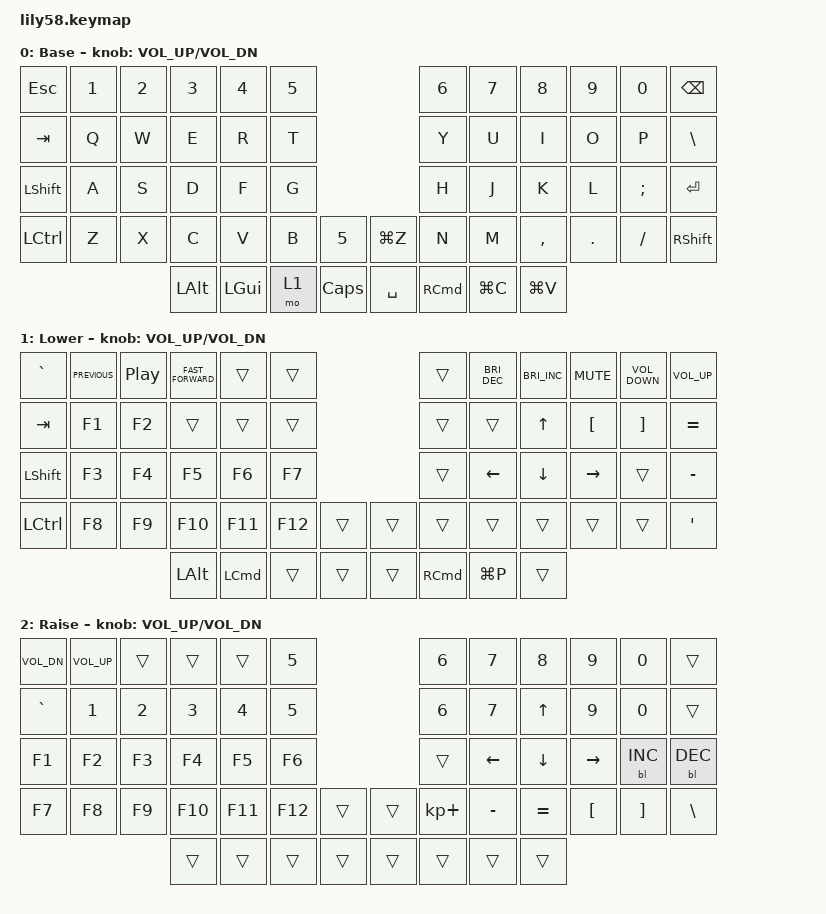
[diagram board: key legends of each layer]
/*
 * Copyright (c) 2020 The ZMK Contributors
 *
 * SPDX-License-Identifier: MIT
 */

#include <behaviors.dtsi>
#include <dt-bindings/zmk/backlight.h>
#include <dt-bindings/zmk/keys.h>

/ {
    keymap {
        compatible = "zmk,keymap";

        default_layer {
            // ------------------------------------------------------------------------------------------------------------
            // |  ESC  |  1  |  2  |  3   |  4   |  5   |                   |  6   |  7    |  8    |  9   |   0   |   `   |
            // |  TAB  |  Q  |  W  |  E   |  R   |  T   |                   |  Y   |  U    |  I    |  O   |   P   |   -   |
            // |  CTRL |  A  |  S  |  D   |  F   |  G   |                   |  H   |  J    |  K    |  L   |   ;   |   '   |
            // | SHIFT |  Z  |  X  |  C   |  V   |  B   |   "["  |  |  "]"  |  N   |  M    |  ,    |  .   |   /   | SHIFT |
            //                     | ALT  | GUI  | LOWER|  SPACE |  | ENTER | RAISE| BSPC  | GUI   |

            display-name = "Base";
            bindings = <
&kp ESC           &kp N1  &kp N2  &kp N3    &kp N4    &kp N5                             &kp N6             &kp N7     &kp N8     &kp N9   &kp N0    &kp BACKSPACE
&kp TAB           &kp Q   &kp W   &kp E     &kp R     &kp T                              &kp Y              &kp U      &kp I      &kp O    &kp P     &kp BACKSLASH
&kp LEFT_SHIFT    &kp A   &kp S   &kp D     &kp F     &kp G                              &kp H              &kp J      &kp K      &kp L    &kp SEMI  &kp RET
&kp LEFT_CONTROL  &kp Z   &kp X   &kp C     &kp V     &kp B   &kp N5          &kp LG(Z)  &kp N              &kp M      &kp COMMA  &kp DOT  &kp FSLH  &kp RSHFT
                                  &kp LALT  &kp LGUI  &mo 1   &kp CAPSLOCK    &kp SPACE  &kp RIGHT_COMMAND  &kp LG(C)  &kp LG(V)
            >;

            sensor-bindings = <&inc_dec_kp C_VOL_UP C_VOL_DN>;
        };

        lower_layer {
            // ------------------------------------------------------------------------------------------------------------
            // | BTCLR | BT1 | BT2 |  BT3 |  BT4 |  BT5 |                   |      |       |       |      |       |       |
            // |  F1   |  F2 |  F3 |  F4  |  F5  |  F6  |                   |  F7  |  F8   |  F9   |  F10 |  F11  |  F12  |
            // |   `   |  !  |  @  |  #   |  $   |  %   |                   |  ^   |  &    |  *    |  (   |   )   |   ~   |
            // |       |     |     |      |      |      |        |  |       |      |  _    |  +    |  {   |   }   |  "|"  |
            //                     |      |      |      |        |  |       |      |       |       |

            display-name = "Lower";
            bindings = <
&kp GRAVE         &kp C_PREVIOUS  &kp C_PLAY_PAUSE  &kp C_FAST_FORWARD  &trans            &trans                     &trans             &kp C_BRIGHTNESS_DEC  &kp C_BRIGHTNESS_INC  &kp K_MUTE        &kp C_VOLUME_DOWN  &kp C_VOLUME_UP
&kp TAB           &kp F1          &kp F2            &trans              &trans            &trans                     &trans             &trans                &kp UP_ARROW          &kp LEFT_BRACKET  &kp RIGHT_BRACKET  &kp EQUAL
&kp LEFT_SHIFT    &kp F3          &kp F4            &kp F5              &kp F6            &kp F7                     &trans             &kp LEFT_ARROW        &kp DOWN              &kp RIGHT         &trans             &kp MINUS
&kp LEFT_CONTROL  &kp F8          &kp F9            &kp F10             &kp F11           &kp F12  &trans    &trans  &trans             &trans                &trans                &trans            &trans             &kp SQT
                                                    &kp LEFT_ALT        &kp LEFT_COMMAND  &trans   &trans    &trans  &kp RIGHT_COMMAND  &kp LG(P)             &trans
            >;

            sensor-bindings = <&inc_dec_kp C_VOL_UP C_VOL_DN>;
        };

        raise_layer {
            // ------------------------------------------------------------------------------------------------------------
            // |       |     |     |      |      |      |                   |      |       |       |      |       |       |
            // |   `   |  1  |  2  |  3   |  4   |  5   |                   |  6   |   7   |   8   |  9   |   0   |       |
            // |   F1  |  F2 |  F3 |  F4  |  F5  |  F6  |                   |      |   <-  |   v   |  ^   |  ->   |       |
            // |   F7  |  F8 |  F9 |  F10 |  F11 |  F12 |        |  |       |  +   |   -   |   =   |  [   |   ]   |   \   |
            //                     |      |      |      |        |  |       |      |       |       |

            display-name = "Raise";
            bindings = <
&kp C_VOL_DN  &kp C_VOL_UP  &trans  &trans   &trans   &kp N5                     &kp N6       &kp N7     &kp N8        &kp N9     &kp N0      &trans
&kp GRAVE     &kp N1        &kp N2  &kp N3   &kp N4   &kp N5                     &kp N6       &kp N7     &kp UP_ARROW  &kp N9     &kp N0      &trans
&kp F1        &kp F2        &kp F3  &kp F4   &kp F5   &kp F6                     &trans       &kp LEFT   &kp DOWN      &kp RIGHT  &bl BL_INC  &bl BL_DEC
&kp F7        &kp F8        &kp F9  &kp F10  &kp F11  &kp F12  &trans    &trans  &kp KP_PLUS  &kp MINUS  &kp EQUAL     &kp LBKT   &kp RBKT    &kp BSLH
                                    &trans   &trans   &trans   &trans    &trans  &trans       &trans     &trans
            >;

            sensor-bindings = <&inc_dec_kp C_VOL_UP C_VOL_DN>;
        };

        extra_1 { status = "reserved"; };

        extra_2 { status = "reserved"; };

        extra_3 { status = "reserved"; };
    };
};
